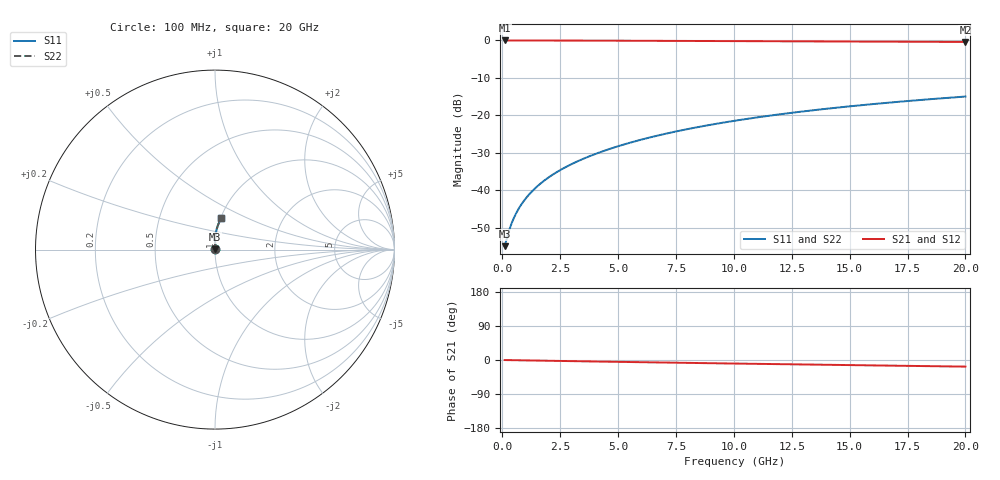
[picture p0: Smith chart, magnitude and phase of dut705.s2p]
! Touchstone file exported from HFSS 2024.1.0
!  File:  C:/UserFiles/LocalFiles/RDL_TSV_Batchsim/temp_RDL_bottom_705_1779857766.aedt
!  Generated:  12:58:49 PM May 27, 2026
!  Design:  RDL_bottom
!  Project:  temp_RDL_bottom_705_1779857766
!  Setup:  Setup1
!  Solution:  Sweep
! Variables:
!  dtsv = 10.80580581um
!  hbump = 3um
!  htsv = 80.5um
!  ldown = 221.4um
!  lrdl = 100um
!  p = 40
!  p1 = 48.41um
!  rhole = 1um
!  t = 450um
!  tdown = 2.48um
!  trdl = 3.915915916um
!  wdown = 25.12um
!  wrdl = 20um
# GHz S MA R 50.000000
! Terminal data exported
! Port[1] = RDL1_T1
! Port[2] = RDL1_T2
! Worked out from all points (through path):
!   200 points, 100 MHz to 20 GHz, reference 50 ohm
!   highest |S21| = -0.01 dB at 100 MHz (marker M1); lowest = -0.4 dB at 20 GHz (marker M2)
!   group delay of S21, straight-line fit = 2.4 ps
!   lowest |S11| = -54.8 dB at 100 MHz (marker M3), VSWR 1.00, Z = 50.2 + j0.0832 ohm
!   |S11| at or under -10 dB: start of sweep to end of sweep
!   |S22| runs from -54.8 to -15.0 dB; largest |S21 - S12| = 3.1e-15
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0.1  0.001811 27.3  0.9984 -0.1  0.9984 -0.1  0.001811 27.3
! Gamma 0 0 0 0
! Port Impedance 50 0 50 0
0.3  0.002967 54.5  0.9982 -0.3  0.9982 -0.3  0.002967 54.5
0.4  0.003635 60.7  0.9981 -0.4  0.9981 -0.4  0.003635 60.7
0.5  0.004311 64.9  0.9981 -0.5  0.9981 -0.5  0.00431 64.9
0.6  0.004989 68.1  0.998 -0.6  0.998 -0.6  0.004989 68.1
0.8  0.006357 72.7  0.9978 -0.8  0.9978 -0.8  0.006357 72.7
1  0.007742 75.8  0.9976 -1.0  0.9976 -1.0  0.007742 75.8
1.2  0.009147 78.2  0.9975 -1.2  0.9975 -1.2  0.009147 78.2
1.4  0.01057 80.0  0.9973 -1.4  0.9973 -1.4  0.01057 80.0
1.7  0.01274 82.2  0.997 -1.7  0.997 -1.7  0.01274 82.2
2.2  0.01643 84.6  0.9963 -2.2  0.9963 -2.2  0.01643 84.6
2.8  0.02099 86.5  0.9954 -2.8  0.9954 -2.8  0.02099 86.5
3.5  0.02648 88.0  0.9942 -3.5  0.9942 -3.5  0.02648 88.0
4.2  0.03216 89.0  0.9928 -4.2  0.9928 -4.2  0.03216 89.0
5  0.03888 89.6  0.991 -4.9  0.991 -4.9  0.03888 89.6
6.8  0.05475 89.9  0.9866 -6.6  0.9866 -6.6  0.05476 89.9
8.4  0.06952 89.2  0.9826 -8.0  0.9826 -8.0  0.06952 89.2
10.1  0.08558 88.0  0.9782 -9.4  0.9782 -9.4  0.08559 88.0
11.7  0.1008 86.7  0.9742 -10.8  0.9742 -10.8  0.1009 86.7
13.4  0.1171 85.1  0.97 -12.2  0.97 -12.2  0.1171 85.1
16.7  0.1482 81.9  0.962 -14.8  0.962 -14.8  0.1482 81.9
20  0.1786 78.6  0.954 -17.5  0.954 -17.5  0.1786 78.7
